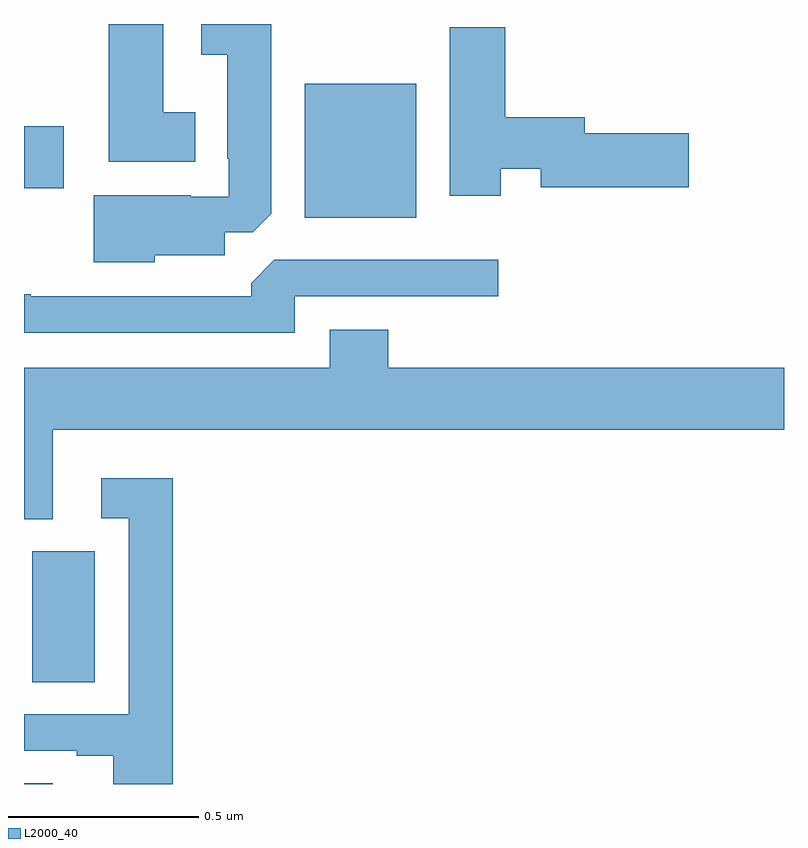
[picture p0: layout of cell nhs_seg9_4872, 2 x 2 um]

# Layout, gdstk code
import gdstk
lib = gdstk.Library(unit=1e-6, precision=1e-09)
def R(c, l, rs):  # rectangles x0, y0, x1, y1
    for r in rs: c.add(gdstk.rectangle(r[:2], r[2:], *l))
def P(c, l, *ps):  # polygons
    for p in ps: c.add(gdstk.Polygon(p, *l))
L2000_40 = (2000, 40)

nhs_seg9_4872 = lib.new_cell('nhs_seg9_4872')
R(nhs_seg9_4872, L2000_40, [(172,1183.5,172.075,1183.502), (172.022,1183.768,172.186,1184.112), (172.739,1184.99,173.032,1185.343), (172,1185.068,172.105,1185.231)])
P(nhs_seg9_4872, L2000_40, [(172.344,1184.891),(172.528,1184.891),(172.528,1184.952),(172.602,1184.952),(172.651,1185.001),(172.651,1185.5),(172.466,1185.5),(172.466,1185.419),(172.535,1185.419),(172.535,1185.145),(172.539,1185.145),(172.539,1185.045),(172.439,1185.045),(172.439,1185.049),(172.184,1185.049),(172.184,1184.873),(172.344,1184.873)],
  [(172.45,1185.268),(172.366,1185.268),(172.366,1185.5),(172.223,1185.5),(172.223,1185.137),(172.45,1185.137)],
  [(173.254,1185.119),(173.36,1185.119),(173.36,1185.07),(173.749,1185.07),(173.749,1185.212),(173.476,1185.212),(173.476,1185.254),(173.267,1185.254),(173.267,1185.492),(173.12,1185.492),(173.12,1185.048),(173.254,1185.048)],
  [(172.713,1184.784),(173.248,1184.784),(173.248,1184.88),(172.659,1184.88),(172.598,1184.818),(172.598,1184.784),(172.018,1184.784),(172.018,1184.789),(172,1184.789),(172,1184.688),(172.713,1184.688)],
  [(172.075,1184.432),(174,1184.432),(174,1184.596),(172.958,1184.596),(172.958,1184.695),(172.805,1184.695),(172.805,1184.596),(172,1184.596),(172,1184.197),(172.075,1184.197)],
  [(172.391,1184.305),(172.203,1184.305),(172.203,1184.199),(172.275,1184.199),(172.275,1183.683),(172,1183.683),(172,1183.587),(172.139,1183.587),(172.139,1183.575),(172.235,1183.575),(172.235,1183.5),(172.391,1183.5)])

lib.write_gds('nhs_seg9_4872.gds')
